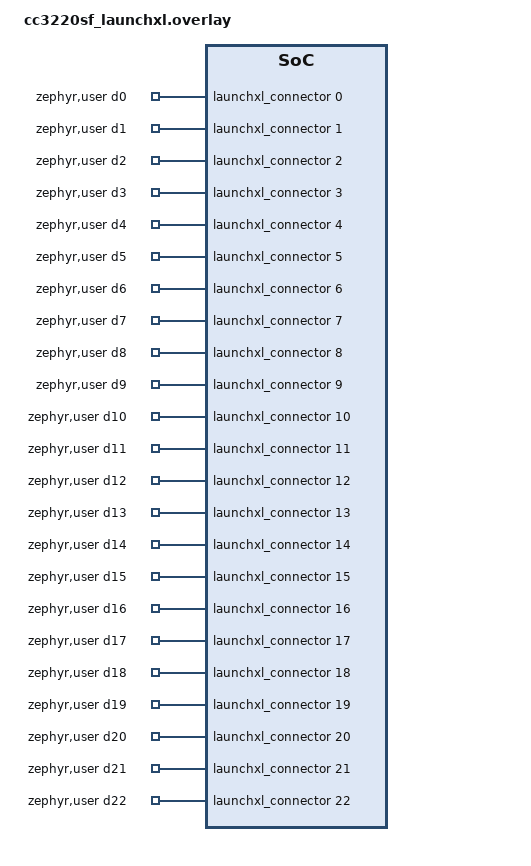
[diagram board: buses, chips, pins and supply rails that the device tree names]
/ {
	zephyr,user {
		d0_gpios = <&launchxl_connector 0 0>;
		d1_gpios = <&launchxl_connector 1 0>;
		d2_gpios = <&launchxl_connector 2 0>;
		d3_gpios = <&launchxl_connector 3 0>;
		d4_gpios = <&launchxl_connector 4 0>;
		d5_gpios = <&launchxl_connector 5 0>;
		d6_gpios = <&launchxl_connector 6 0>;
		d7_gpios = <&launchxl_connector 7 0>;
		d8_gpios = <&launchxl_connector 8 0>;
		d9_gpios = <&launchxl_connector 9 0>;
		d10_gpios = <&launchxl_connector 10 0>;
		d11_gpios = <&launchxl_connector 11 0>;
		d12_gpios = <&launchxl_connector 12 0>;
		d13_gpios = <&launchxl_connector 13 0>;
		d14_gpios = <&launchxl_connector 14 0>; /* D14 / A0 */
		d15_gpios = <&launchxl_connector 15 0>;
		d16_gpios = <&launchxl_connector 16 0>;
		d17_gpios = <&launchxl_connector 17 0>;
		d18_gpios = <&launchxl_connector 18 0>; /* D18 / A4 / I2C-SDA */
		d19_gpios = <&launchxl_connector 19 0>; /* D19 / A5 / I2C-SCL */
		d20_gpios = <&launchxl_connector 20 0>;
		d21_gpios = <&launchxl_connector 21 0>;
		d22_gpios = <&launchxl_connector 22 0>;
	};
};
